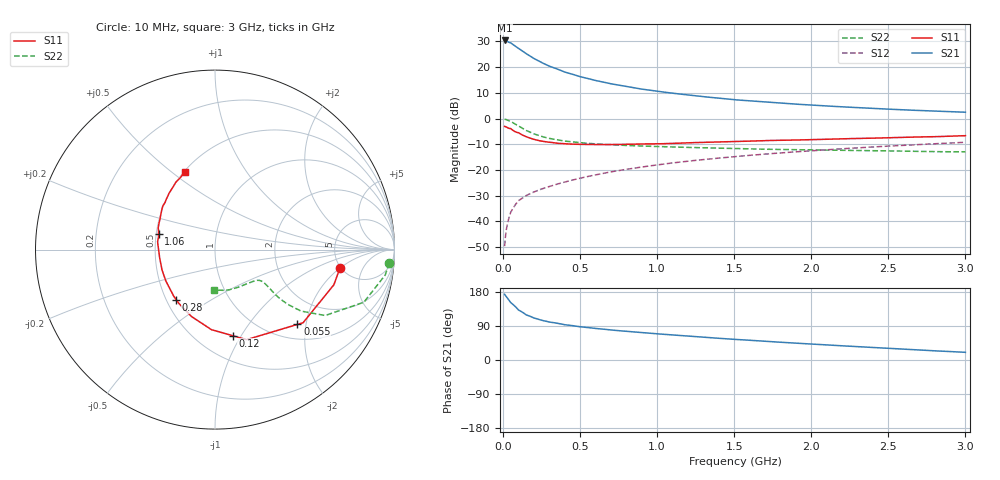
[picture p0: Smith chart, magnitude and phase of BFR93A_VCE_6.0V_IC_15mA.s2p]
! Infineon Technologies  Discrete & RF Semiconductors
! BFR93A
! VCE =  6.0 V,  IC =  15 mA
! Common Emitter S-Parameters:  Nov 2015
# GHz  S  MA  R  50
!  f  S11  S21  S12  S22
! GHz  MAG  ANG  MAG  ANG  MAG  ANG  MAG  ANG
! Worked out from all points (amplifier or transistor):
!   180 points, 10 MHz to 3 GHz, reference 50 ohm
!   highest |S21| = 30.4 dB at 10 MHz (marker M1)
!   |S21| within 3 dB of that: start of sweep to 99.82 MHz
!   unconditionally stable (mu >= 1): 498.2 MHz to 2.617 GHz
!   at 160 MHz: K = 0.60, MSG = 27.3 dB, |S12| = -29.7 dB
!   at 1.22 GHz: K = 1.08, MAG = 11.0 dB, |S12| = -16.4 dB
!   at 3 GHz: K = 0.97, MSG = 5.8 dB, |S12| = -9.2 dB
!   S11 on the Smith chart (normalised r, x): 10 MHz: 4.93, -1.99; 55 MHz: 1.32, -1.79; 120 MHz: 0.73, -0.92; 280 MHz: 0.56, -0.36; 1.06 GHz: 0.52, +0.10; 3 GHz: 0.50, +0.56
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0.01  0.7041 -8.3  33.1 173.4  0.0033 87.1  0.9731 -4.4
0.02  0.6907 -16.5  32.55 167.5  0.0066 81.4  0.9589 -8.5
0.04  0.6433 -31.6  30.32 157.0  0.0122 74.8  0.9022 -15.6
0.05  0.6379 -39.7  29.63 151.3  0.0151 73.3  0.8796 -19.5
0.055  0.6203 -42.2  28.88 149.8  0.0161 71.8  0.8619 -20.4
0.1  0.5315 -70.7  23.42 131.9  0.0253 63.9  0.7151 -30.9
0.12  0.4891 -78.5  21.25 127.5  0.0279 62.4  0.6637 -32.6
0.15  0.4464 -92.6  18.31 119.1  0.0318 60.6  0.5879 -35.6
0.2  0.3954 -109.2  14.78 110.9  0.0374 60.5  0.5048 -37.0
0.24  0.3695 -119.4  12.77 106.1  0.0416 60.8  0.46 -37.1
0.28  0.3529 -127.7  11.19 102.2  0.0458 61.7  0.4267 -36.8
0.3  0.3467 -131.6  10.48 100.2  0.0478 62.1  0.4119 -36.5
0.4  0.3246 -147.8  8.05 93.1  0.0583 64.1  0.365 -35.1
0.52  0.3143 -161.4  6.332 86.9  0.0715 65.5  0.3357 -34.2
0.7  0.3124 -175.7  4.757 79.2  0.092 66.5  0.3099 -34.2
0.9  0.3228 172.3  3.747 72.4  0.1143 66.2  0.2919 -35.8
1.02  0.3237 166.3  3.34 68.5  0.1279 65.7  0.2856 -37.2
1.06  0.3262 164.5  3.227 67.3  0.1326 65.4  0.2832 -37.9
1.52  0.3569 148.0  2.305 54.0  0.1841 62.0  0.2605 -46.7
2.02  0.391 133.7  1.817 41.7  0.2389 57.5  0.2455 -59.2
2.52  0.4261 122.2  1.517 30.4  0.2937 52.1  0.2349 -73.9
3  0.4654 111.1  1.33 20.3  0.3462 46.6  0.2253 -91.7
